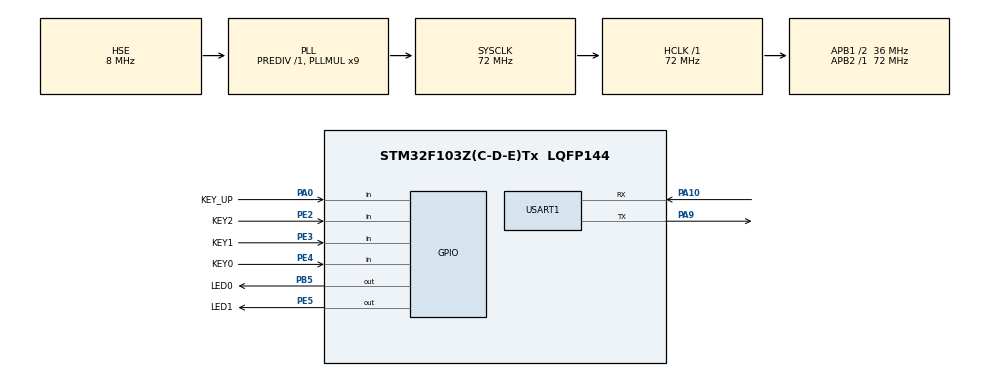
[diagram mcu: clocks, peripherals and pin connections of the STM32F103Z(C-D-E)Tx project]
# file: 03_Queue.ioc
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FREERTOS.Queues01=Queue_Keys,10,uint8_t,0,Dynamic,NULL,NULL
FREERTOS.Tasks01=Task_Idle,16,128,AppTask_Idle,Default,NULL,Dynamic,NULL,NULL;Task_Scankeys,24,128,AppTask_Scankeys,Default,NULL,Dynamic,NULL,NULL
Mcu.Family=STM32F1
Mcu.Name=STM32F103Z(C-D-E)Tx
Mcu.Package=LQFP144
NVIC.PriorityGroup=NVIC_PRIORITYGROUP_4
NVIC.TIM6_IRQn=true\:15\:0\:false\:false\:true\:false\:false\:true\:true
NVIC.TimeBase=TIM6_IRQn
NVIC.TimeBaseIP=TIM6
OSC_IN.Mode=HSE-External-Oscillator
OSC_IN.Signal=RCC_OSC_IN
OSC_OUT.Mode=HSE-External-Oscillator
OSC_OUT.Signal=RCC_OSC_OUT
PA0-WKUP.GPIO_Label=KEY_UP
PA0-WKUP.GPIO_PuPd=GPIO_PULLDOWN
PA0-WKUP.Signal=GPIO_Input
PA10.Mode=Asynchronous
PA10.Signal=USART1_RX
PA13.Mode=Serial_Wire
PA13.Signal=SYS_JTMS-SWDIO
PA14.Mode=Serial_Wire
PA14.Signal=SYS_JTCK-SWCLK
PA9.Mode=Asynchronous
PA9.Signal=USART1_TX
PB5.GPIO_Label=LED0
PB5.Signal=GPIO_Output
PE2.GPIO_Label=KEY2
PE2.GPIO_PuPd=GPIO_PULLUP
PE2.Signal=GPIO_Input
PE3.GPIO_Label=KEY1
PE3.GPIO_PuPd=GPIO_PULLUP
PE3.Signal=GPIO_Input
PE4.GPIO_Label=KEY0
PE4.GPIO_PuPd=GPIO_PULLUP
PE4.Signal=GPIO_Input
PE5.GPIO_Label=LED1
PE5.Signal=GPIO_Output
ProjectManager.HeapSize=0x800
ProjectManager.StackSize=0x800
ProjectManager.TargetToolchain=MDK-ARM V5.32
RCC.AHBFreq_Value=72000000
RCC.APB1CLKDivider=RCC_HCLK_DIV2
RCC.APB1Freq_Value=36000000
RCC.APB1TimFreq_Value=72000000
RCC.APB2Freq_Value=72000000
RCC.APB2TimFreq_Value=72000000
RCC.HCLKFreq_Value=72000000
RCC.PLLMUL=RCC_PLL_MUL9
RCC.PLLSourceVirtual=RCC_PLLSOURCE_HSE
RCC.SYSCLKFreq_VALUE=72000000
RCC.SYSCLKSource=RCC_SYSCLKSOURCE_PLLCLK
RCC.USBFreq_Value=72000000
USART1.VirtualMode=VM_ASYNC
VP_FREERTOS_VS_CMSIS_V2.Mode=CMSIS_V2
VP_SYS_VS_tim6.Mode=TIM6
board=custom

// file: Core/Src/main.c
/* USER CODE BEGIN Header */
/**
  ******************************************************************************
  * @file           : main.c
  * @brief          : Main program body
  ******************************************************************************
  * @attention
  *
  * Copyright (c) 2025 STMicroelectronics.
  * All rights reserved.
  *
  * This software is licensed under terms that can be found in the LICENSE file
  * in the root directory of this software component.
  * If no LICENSE file comes with this software, it is provided AS-IS.
  *
  ******************************************************************************
  */
/* USER CODE END Header */
#include "main.h"
#include "cmsis_os.h"
#include "usart.h"
#include "gpio.h"

/* USER CODE BEGIN Includes */
#include "stdio.h"
/* USER CODE END Includes */

void SystemClock_Config(void);
void MX_FREERTOS_Init(void);

int main(void)
{

  /* MCU Configuration--------------------------------------------------------*/

  /* Reset of all peripherals, Initializes the Flash interface and the Systick. */
  HAL_Init();

  /* Configure the system clock */
  SystemClock_Config();

  /* Initialize all configured peripherals */
  MX_GPIO_Init();
  MX_USART1_UART_Init();
  /* USER CODE BEGIN 2 */
	printf("the task begin!\r\n");
  /* USER CODE END 2 */

  /* Init scheduler */
  osKernelInitialize();  /* Call init function for freertos objects (in cmsis_os2.c) */
  MX_FREERTOS_Init();

  /* Start scheduler */
  osKernelStart();

  /* We should never get here as control is now taken by the scheduler */

  /* Infinite loop */
  while (1)
  {

  }
}

void SystemClock_Config(void)
{
  RCC_OscInitTypeDef RCC_OscInitStruct = {0};
  RCC_ClkInitTypeDef RCC_ClkInitStruct = {0};

  /** Initializes the RCC Oscillators according to the specified parameters
  * in the RCC_OscInitTypeDef structure.
  */
  RCC_OscInitStruct.OscillatorType = RCC_OSCILLATORTYPE_HSE;
  RCC_OscInitStruct.HSEState = RCC_HSE_ON;
  RCC_OscInitStruct.HSEPredivValue = RCC_HSE_PREDIV_DIV1;
  RCC_OscInitStruct.HSIState = RCC_HSI_ON;
  RCC_OscInitStruct.PLL.PLLState = RCC_PLL_ON;
  RCC_OscInitStruct.PLL.PLLSource = RCC_PLLSOURCE_HSE;
  RCC_OscInitStruct.PLL.PLLMUL = RCC_PLL_MUL9;
  if (HAL_RCC_OscConfig(&RCC_OscInitStruct) != HAL_OK)
  {
    Error_Handler();
  }

  /** Initializes the CPU, AHB and APB buses clocks
  */
  RCC_ClkInitStruct.ClockType = RCC_CLOCKTYPE_HCLK|RCC_CLOCKTYPE_SYSCLK
                              |RCC_CLOCKTYPE_PCLK1|RCC_CLOCKTYPE_PCLK2;
  RCC_ClkInitStruct.SYSCLKSource = RCC_SYSCLKSOURCE_PLLCLK;
  RCC_ClkInitStruct.AHBCLKDivider = RCC_SYSCLK_DIV1;
  RCC_ClkInitStruct.APB1CLKDivider = RCC_HCLK_DIV2;
  RCC_ClkInitStruct.APB2CLKDivider = RCC_HCLK_DIV1;

  if (HAL_RCC_ClockConfig(&RCC_ClkInitStruct, FLASH_LATENCY_2) != HAL_OK)
  {
    Error_Handler();
  }
}

void HAL_TIM_PeriodElapsedCallback(TIM_HandleTypeDef *htim)
{
  if (htim->Instance == TIM6)
  {
    HAL_IncTick();
  }
}

void Error_Handler(void)
{
  __disable_irq();
  while (1)
  {
  }
}

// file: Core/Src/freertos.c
/* USER CODE BEGIN Header */
/**
  ******************************************************************************
  * File Name          : freertos.c
  * Description        : Code for freertos applications
  ******************************************************************************
  * @attention
  *
  * Copyright (c) 2025 STMicroelectronics.
  * All rights reserved.
  *
  * This software is licensed under terms that can be found in the LICENSE file
  * in the root directory of this software component.
  * If no LICENSE file comes with this software, it is provided AS-IS.
  *
  ******************************************************************************
  */
/* USER CODE END Header */

#include "FreeRTOS.h"
#include "task.h"
#include "main.h"
#include "cmsis_os.h"

/* USER CODE BEGIN Includes */
#include "stdio.h"
#include "queue.h"
#include "key.h"
#include "usart.h"
#include "string.h"
#include "stdint.h"
/* USER CODE END Includes */

/* Definitions for Task_Idle */
osThreadId_t Task_IdleHandle;
const osThreadAttr_t Task_Idle_attributes = {
  .name = "Task_Idle",
  .stack_size = 128 * 4,
  .priority = (osPriority_t) osPriorityBelowNormal,
};
/* Definitions for Task_Scankeys */
osThreadId_t Task_ScankeysHandle;
const osThreadAttr_t Task_Scankeys_attributes = {
  .name = "Task_Scankeys",
  .stack_size = 128 * 4,
  .priority = (osPriority_t) osPriorityNormal,
};
/* Definitions for Queue_Keys */
osMessageQueueId_t Queue_KeysHandle;
const osMessageQueueAttr_t Queue_Keys_attributes = {
  .name = "Queue_Keys"
};

void AppTask_Idle(void *argument);
void AppTask_Scankeys(void *argument);

void MX_FREERTOS_Init(void); /* (MISRA C 2004 rule 8.1) */

void MX_FREERTOS_Init(void) {

  /* Create the queue(s) */
  /* creation of Queue_Keys */
  Queue_KeysHandle = osMessageQueueNew (10, sizeof(uint8_t), &Queue_Keys_attributes);

  /* Create the thread(s) */
  /* creation of Task_Idle */
  Task_IdleHandle = osThreadNew(AppTask_Idle, NULL, &Task_Idle_attributes);

  /* creation of Task_Scankeys */
  Task_ScankeysHandle = osThreadNew(AppTask_Scankeys, NULL, &Task_Scankeys_attributes);

}

void AppTask_Idle(void *argument)
{
  /* USER CODE BEGIN AppTask_Idle */
  uint8_t tempStr[30];
  KEY_TYPE keyvalue = KEY_NONE;
  /* Infinite loop */
  for(;;)
  {

    if (xQueueReceive(Queue_KeysHandle, &keyvalue, pdMS_TO_TICKS(50)) != pdTRUE)
    {
      continue;
    }

//    sprintf(tempStr, "uxQueueMessagesWaiting = %d\r\n", uxQueueMessagesWaiting(Queue_KeysHandle));
//    HAL_UART_Transmit(&huart1, (uint8_t*)tempStr, strlen(tempStr), 1000);

//    sprintf(tempStr, "uxQueueSpacesAvailable = %d\r\n", uxQueueSpacesAvailable(Queue_KeysHandle));
//    HAL_UART_Transmit(&huart1, (uint8_t*)tempStr, strlen(tempStr), 1000);

    switch (keyvalue)
    {
      case KEY_UP:
        sprintf(tempStr, "keyvalue = KEY_UP \r\n");
        HAL_UART_Transmit(&huart1, (uint8_t*)tempStr, strlen(tempStr), 1000);
        break;
      case KEY_DOWN:
        sprintf(tempStr, "keyvalue = KEY_DOWN \r\n");
        HAL_UART_Transmit(&huart1, (uint8_t*)tempStr, strlen(tempStr), 1000);
        break;
      case KEY_LEFT:
        sprintf(tempStr, "keyvalue = KEY_LEFT \r\n");
        HAL_UART_Transmit(&huart1, (uint8_t*)tempStr, strlen(tempStr), 1000);
        break;
      case KEY_RIGHT:
        sprintf(tempStr, "keyvalue = KEY_RIGHT \r\n");
        HAL_UART_Transmit(&huart1, (uint8_t*)tempStr, strlen(tempStr), 1000);
        break;
    }
    osDelay(1);
  }
  /* USER CODE END AppTask_Idle */
}

void AppTask_Scankeys(void *argument)
{
  /* USER CODE BEGIN AppTask_Scankeys */
  GPIO_PinState keyState = GPIO_PIN_RESET;
  KEY_TYPE key = KEY_NONE;
  /* Infinite loop */
  for(;;)
  {
    key = KEY_NONE;
    keyState = HAL_GPIO_ReadPin(KEYUP_GPIO_PORT, KEYUP_GPIO_PIN);
    if (keyState == GPIO_PIN_SET)
    {
      key = KEY_UP;
    }

    keyState = HAL_GPIO_ReadPin(KEYDOWN_GPIO_PORT, KEYDOWN_GPIO_PIN);
    if (keyState == GPIO_PIN_RESET)
    {
      key = KEY_DOWN;
    }

    keyState = HAL_GPIO_ReadPin(KEYLEFT_GPIO_PORT, KEYLEFT_GPIO_PIN);
    if (keyState == GPIO_PIN_RESET)
    {
      key = KEY_LEFT;
    }

    keyState = HAL_GPIO_ReadPin(KEYRIGHT_GPIO_PORT, KEYRIGHT_GPIO_PIN);
    if (keyState == GPIO_PIN_RESET)
    {
      key = KEY_RIGHT;
    }

    if(key != KEY_NONE)
    {
      BaseType_t err =  xQueueSendToBack(Queue_KeysHandle, &key, pdMS_TO_TICKS(50));
      if (err == errQUEUE_FULL)
      {
        xQueueReset(Queue_KeysHandle);
      }
      vTaskDelay(pdMS_TO_TICKS(300));
    }else
    {
      vTaskDelay(pdMS_TO_TICKS(10));
    }
    //osDelay(1);
  }
  /* USER CODE END AppTask_Scankeys */
}
